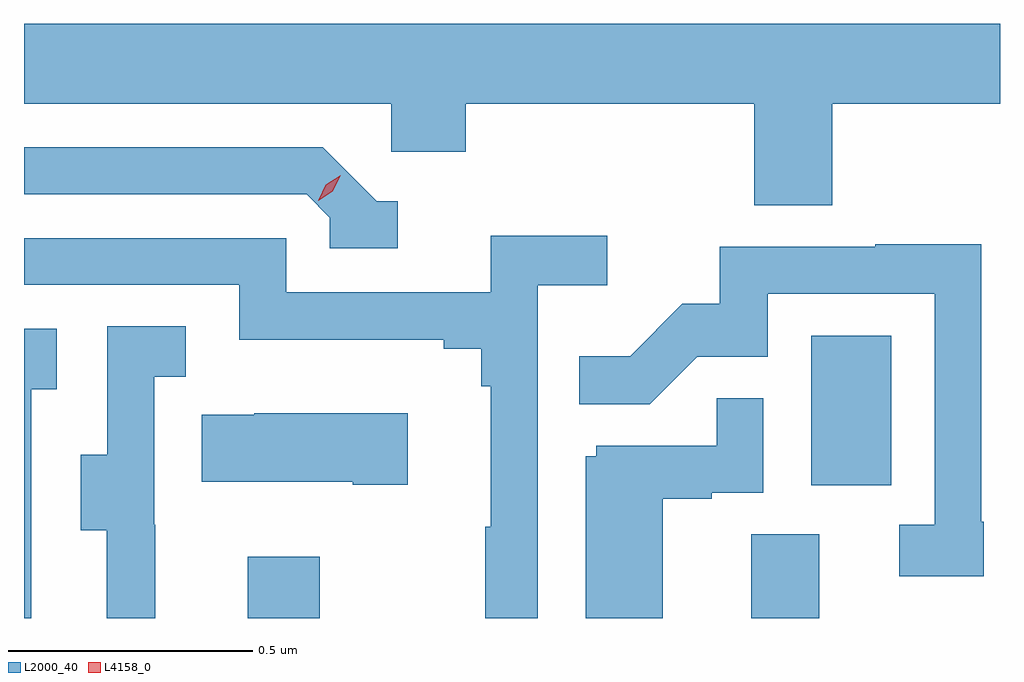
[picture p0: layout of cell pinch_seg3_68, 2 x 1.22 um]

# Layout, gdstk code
import gdstk
lib = gdstk.Library(unit=1e-6, precision=1e-09)
def R(c, l, rs):  # rectangles x0, y0, x1, y1
    for r in rs: c.add(gdstk.rectangle(r[:2], r[2:], *l))
def P(c, l, *ps):  # polygons
    for p in ps: c.add(gdstk.Polygon(p, *l))
L2000_40 = (2000, 40)
L4158_0 = (4158, 0)

pinch_seg3_68 = lib.new_cell('pinch_seg3_68')
R(pinch_seg3_68, L2000_40, [(1024.679,731.83,1024.827,731.956), (1025.711,731.83,1025.851,732.002), (1025.834,732.102,1025.998,732.409)])
P(pinch_seg3_68, L2000_40, [(1024.221,732.884),(1024.974,732.884),(1024.974,732.786),(1025.126,732.786),(1025.126,732.884),(1025.717,732.884),(1025.717,732.676),(1025.877,732.676),(1025.877,732.884),(1026.221,732.884),(1026.221,733.048),(1024.221,733.048)],
  [(1024.987,732.684),(1024.944,732.684),(1024.833,732.795),(1024.221,732.795),(1024.221,732.699),(1024.8,732.699),(1024.848,732.651),(1024.848,732.588),(1024.987,732.588)],
  [(1025.274,732.512),(1025.416,732.512),(1025.416,732.614),(1025.177,732.614),(1025.177,732.498),(1024.758,732.498),(1024.758,732.609),(1024.221,732.609),(1024.221,732.513),(1024.662,732.513),(1024.662,732.401),(1025.081,732.401),(1025.081,732.382),(1025.158,732.382),(1025.158,732.305),(1025.177,732.305),(1025.177,732.017),(1025.166,732.017),(1025.166,731.83),(1025.274,731.83)],
  [(1026.188,732.028),(1026.183,732.028),(1026.183,732.596),(1025.965,732.596),(1025.965,732.591),(1025.647,732.591),(1025.647,732.474),(1025.57,732.474),(1025.463,732.367),(1025.359,732.367),(1025.359,732.268),(1025.503,732.268),(1025.601,732.366),(1025.745,732.366),(1025.745,732.495),(1026.087,732.495),(1026.087,732.021),(1026.015,732.021),(1026.015,731.916),(1026.188,731.916)],
  [(1024.49,732.021),(1024.488,732.021),(1024.488,732.325),(1024.552,732.325),(1024.552,732.428),(1024.392,732.428),(1024.392,732.165),(1024.337,732.165),(1024.337,732.01),(1024.391,732.01),(1024.391,731.83),(1024.49,731.83)],
  [(1024.236,732.299),(1024.288,732.299),(1024.288,732.423),(1024.221,732.423),(1024.221,731.83),(1024.236,731.83)],
  [(1025.53,732.075),(1025.63,732.075),(1025.63,732.087),(1025.736,732.087),(1025.736,732.281),(1025.641,732.281),(1025.641,732.183),(1025.394,732.183),(1025.394,732.162),(1025.372,732.162),(1025.372,731.83),(1025.53,731.83)],
  [(1025.007,732.25),(1024.693,732.25),(1024.693,732.247),(1024.585,732.247),(1024.585,732.11),(1024.895,732.11),(1024.895,732.103),(1025.007,732.103)])
P(pinch_seg3_68, L4158_0, [(1024.824,732.685),(1024.824,732.685),(1024.839,732.718),(1024.87,732.738),(1024.87,732.738),(1024.87,732.738),(1024.854,732.705),(1024.824,732.685)])

lib.write_gds('pinch_seg3_68.gds')
